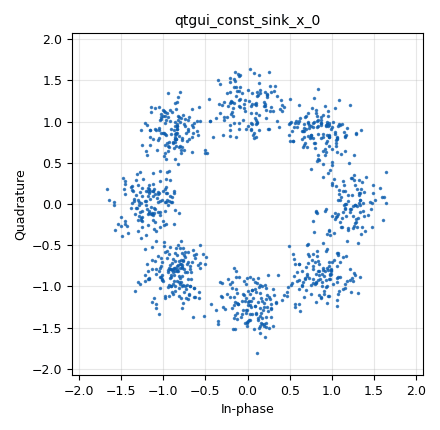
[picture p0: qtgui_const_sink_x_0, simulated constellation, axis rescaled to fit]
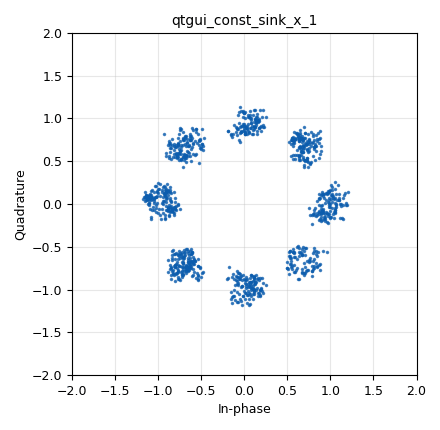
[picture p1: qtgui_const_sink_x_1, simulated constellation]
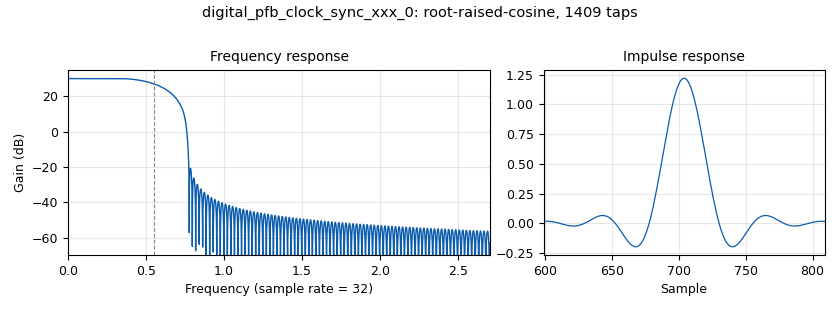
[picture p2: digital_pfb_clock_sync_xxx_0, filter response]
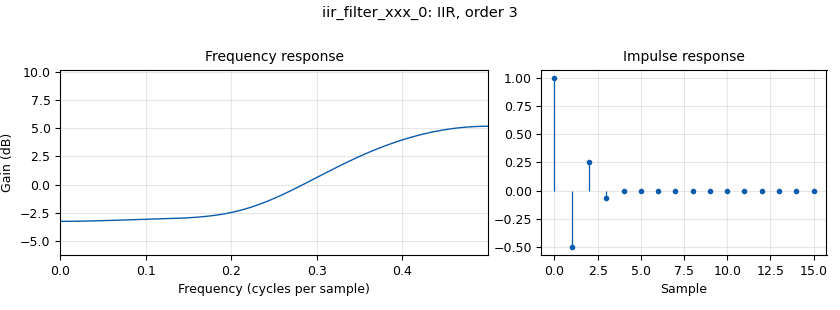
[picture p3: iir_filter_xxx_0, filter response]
<?xml version='1.0' encoding='utf-8'?>
<?grc format='1' created='3.7.11'?>
<flow_graph>
<block>
<key>options</key>
<param><key>id</key><value>top_block</value></param>
<param><key>generate_options</key><value>qt_gui</value></param>
</block>
<block>
<key>variable</key>
<param><key>id</key><value>const_points</value></param>
<param><key>value</key><value>4</value></param>
</block>
<block>
<key>variable</key>
<param><key>id</key><value>excess_bw</value></param>
<param><key>value</key><value>0.4</value></param>
</block>
<block>
<key>variable</key>
<param><key>id</key><value>nfilts</value></param>
<param><key>value</key><value>32</value></param>
</block>
<block>
<key>variable</key>
<param><key>id</key><value>ntaps</value></param>
<param><key>value</key><value>11*nfilts*sps</value></param>
</block>
<block>
<key>variable</key>
<param><key>id</key><value>samp_rate</value></param>
<param><key>value</key><value>20000*sps</value></param>
</block>
<block>
<key>variable</key>
<param><key>id</key><value>sps</value></param>
<param><key>value</key><value>4</value></param>
</block>
<block>
<key>variable</key>
<param><key>id</key><value>tx_taps</value></param>
<param><key>value</key><value>firdes.root_raised_cosine(nfilts,nfilts,1.1,excess_bw,ntaps)</value></param>
</block>
<block>
<key>variable_qtgui_range</key>
<param><key>id</key><value>var1</value></param>
<param><key>value</key><value>0</value></param>
<param><key>_enabled</key><value>0</value></param>
<param><key>orient</key><value>Qt.Horizontal</value></param>
<param><key>start</key><value>-1</value></param>
<param><key>step</key><value>0.01</value></param>
<param><key>stop</key><value>1</value></param>
</block>
<block>
<key>variable_qtgui_range</key>
<param><key>id</key><value>var2</value></param>
<param><key>value</key><value>0</value></param>
<param><key>_enabled</key><value>0</value></param>
<param><key>orient</key><value>Qt.Horizontal</value></param>
<param><key>start</key><value>-1</value></param>
<param><key>step</key><value>0.01</value></param>
<param><key>stop</key><value>1</value></param>
</block>
<block>
<key>variable_qtgui_range</key>
<param><key>id</key><value>var3</value></param>
<param><key>value</key><value>0</value></param>
<param><key>_enabled</key><value>0</value></param>
<param><key>orient</key><value>Qt.Horizontal</value></param>
<param><key>start</key><value>-1</value></param>
<param><key>step</key><value>0.01</value></param>
<param><key>stop</key><value>1</value></param>
</block>
<block>
<key>variable_qtgui_range</key>
<param><key>id</key><value>var4</value></param>
<param><key>value</key><value>0</value></param>
<param><key>_enabled</key><value>0</value></param>
<param><key>orient</key><value>Qt.Horizontal</value></param>
<param><key>start</key><value>-1</value></param>
<param><key>step</key><value>0.01</value></param>
<param><key>stop</key><value>1</value></param>
</block>
<block>
<key>analog_noise_source_x</key>
<param><key>id</key><value>analog_noise_source_x_0</value></param>
<param><key>amp</key><value>0.05</value></param>
<param><key>noise_type</key><value>analog.GR_GAUSSIAN</value></param>
<param><key>type</key><value>complex</value></param>
<param><key>seed</key><value>0</value></param>
</block>
<block>
<key>analog_random_source_x</key>
<param><key>id</key><value>analog_random_source_x_0</value></param>
<param><key>max</key><value>8</value></param>
<param><key>min</key><value>0</value></param>
<param><key>num_samps</key><value>1000</value></param>
<param><key>type</key><value>int</value></param>
<param><key>repeat</key><value>True</value></param>
</block>
<block>
<key>blocks_add_const_vxx</key>
<param><key>id</key><value>blocks_add_const_vxx_0</value></param>
<param><key>const</key><value>-1</value></param>
<param><key>_enabled</key><value>0</value></param>
<param><key>type</key><value>complex</value></param>
</block>
<block>
<key>blocks_add_xx</key>
<param><key>id</key><value>blocks_add_xx_0</value></param>
<param><key>type</key><value>complex</value></param>
</block>
<block>
<key>blocks_add_xx</key>
<param><key>id</key><value>blocks_add_xx_0_0</value></param>
<param><key>type</key><value>complex</value></param>
</block>
<block>
<key>blocks_delay</key>
<param><key>id</key><value>blocks_delay_0</value></param>
<param><key>delay</key><value>sps</value></param>
<param><key>type</key><value>complex</value></param>
</block>
<block>
<key>blocks_multiply_conjugate_cc</key>
<param><key>id</key><value>blocks_multiply_conjugate_cc_0</value></param>
<param><key>_enabled</key><value>0</value></param>
</block>
<block>
<key>blocks_multiply_const_vxx</key>
<param><key>id</key><value>blocks_multiply_const_vxx_0</value></param>
<param><key>const</key><value>0.5</value></param>
<param><key>type</key><value>complex</value></param>
</block>
<block>
<key>blocks_throttle</key>
<param><key>id</key><value>blocks_throttle_0</value></param>
<param><key>_enabled</key><value>0</value></param>
<param><key>samples_per_second</key><value>samp_rate*3</value></param>
<param><key>type</key><value>complex</value></param>
</block>
<block>
<key>import</key>
<param><key>id</key><value>digital</value></param>
<param><key>import</key><value>from gnuradio import digital</value></param>
</block>
<block>
<key>digital_chunks_to_symbols_xx</key>
<param><key>id</key><value>digital_chunks_to_symbols_xx_0</value></param>
<param><key>dimension</key><value>1</value></param>
<param><key>in_type</key><value>int</value></param>
<param><key>out_type</key><value>complex</value></param>
<param><key>symbol_table</key><value>((1), (-1), (1j), (-1j), (0.707-0.707j),(0.707+0.707j),(-0.707+0.707j),(-0.707-0.707j))</value></param>
</block>
<block>
<key>digital_cma_equalizer_cc</key>
<param><key>id</key><value>digital_cma_equalizer_cc_0</value></param>
<param><key>mu</key><value>0.001</value></param>
<param><key>modulus</key><value>1</value></param>
<param><key>num_taps</key><value>8</value></param>
<param><key>sps</key><value>sps</value></param>
</block>
<block>
<key>digital_pfb_clock_sync_xxx</key>
<param><key>id</key><value>digital_pfb_clock_sync_xxx_0</value></param>
<param><key>filter_size</key><value>nfilts</value></param>
<param><key>init_phase</key><value>16</value></param>
<param><key>loop_bw</key><value>2*pi/100</value></param>
<param><key>max_dev</key><value>1.5</value></param>
<param><key>osps</key><value>1</value></param>
<param><key>sps</key><value>sps</value></param>
<param><key>taps</key><value>tx_taps</value></param>
<param><key>type</key><value>ccf</value></param>
</block>
<block>
<key>import</key>
<param><key>id</key><value>filt</value></param>
<param><key>import</key><value>from gnuradio import filter</value></param>
</block>
<block>
<key>iir_filter_xxx</key>
<param><key>id</key><value>iir_filter_xxx_0</value></param>
<param><key>fftaps</key><value>[1,-0.5,0.25,-0.0625]</value></param>
<param><key>fbtaps</key><value>1</value></param>
<param><key>type</key><value>ccz</value></param>
</block>
<block>
<key>iir_filter_xxx</key>
<param><key>id</key><value>iir_filter_xxx_1</value></param>
<param><key>_enabled</key><value>0</value></param>
<param><key>fftaps</key><value>0.001</value></param>
<param><key>fbtaps</key><value>[1,0.98]</value></param>
<param><key>type</key><value>ccz</value></param>
</block>
<block>
<key>pfb_arb_resampler_xxx</key>
<param><key>id</key><value>pfb_arb_resampler_xxx_0</value></param>
<param><key>nfilts</key><value>32</value></param>
<param><key>rrate</key><value>sps</value></param>
<param><key>atten</key><value>100</value></param>
<param><key>taps</key><value>tx_taps</value></param>
<param><key>type</key><value>ccf</value></param>
</block>
<block>
<key>import</key>
<param><key>id</key><value>pi</value></param>
<param><key>import</key><value>from math import pi</value></param>
</block>
<block>
<key>qtgui_const_sink_x</key>
<param><key>id</key><value>qtgui_const_sink_x_0</value></param>
<param><key>size</key><value>1024</value></param>
<param><key>type</key><value>complex</value></param>
<param><key>ymax</key><value>8/7</value></param>
<param><key>ymin</key><value>-8/7</value></param>
</block>
<block>
<key>qtgui_const_sink_x</key>
<param><key>id</key><value>qtgui_const_sink_x_1</value></param>
<param><key>size</key><value>1024</value></param>
<param><key>type</key><value>complex</value></param>
</block>
<block>
<key>qtgui_sink_x</key>
<param><key>id</key><value>qtgui_sink_x_0</value></param>
<param><key>bw</key><value>samp_rate</value></param>
<param><key>fc</key><value>0</value></param>
<param><key>freqchangevar</key><value>None</value></param>
<param><key>_enabled</key><value>0</value></param>
<param><key>fftsize</key><value>1024</value></param>
<param><key>showports</key><value>True</value></param>
<param><key>type</key><value>complex</value></param>
<param><key>wintype</key><value>firdes.WIN_BLACKMAN_hARRIS</value></param>
</block>
<connection><source_block_id>analog_noise_source_x_0</source_block_id><sink_block_id>blocks_add_xx_0_0</sink_block_id><source_key>0</source_key><sink_key>0</sink_key></connection>
<connection><source_block_id>analog_random_source_x_0</source_block_id><sink_block_id>digital_chunks_to_symbols_xx_0</sink_block_id><source_key>0</source_key><sink_key>0</sink_key></connection>
<connection><source_block_id>blocks_add_const_vxx_0</source_block_id><sink_block_id>iir_filter_xxx_1</sink_block_id><source_key>0</source_key><sink_key>0</sink_key></connection>
<connection><source_block_id>blocks_add_xx_0</source_block_id><sink_block_id>digital_pfb_clock_sync_xxx_0</sink_block_id><source_key>0</source_key><sink_key>0</sink_key></connection>
<connection><source_block_id>blocks_add_xx_0_0</source_block_id><sink_block_id>blocks_add_xx_0</sink_block_id><source_key>0</source_key><sink_key>1</sink_key></connection>
<connection><source_block_id>blocks_add_xx_0_0</source_block_id><sink_block_id>blocks_delay_0</sink_block_id><source_key>0</source_key><sink_key>0</sink_key></connection>
<connection><source_block_id>blocks_delay_0</source_block_id><sink_block_id>blocks_multiply_const_vxx_0</sink_block_id><source_key>0</source_key><sink_key>0</sink_key></connection>
<connection><source_block_id>blocks_multiply_conjugate_cc_0</source_block_id><sink_block_id>blocks_add_const_vxx_0</sink_block_id><source_key>0</source_key><sink_key>0</sink_key></connection>
<connection><source_block_id>blocks_multiply_const_vxx_0</source_block_id><sink_block_id>blocks_add_xx_0</sink_block_id><source_key>0</source_key><sink_key>0</sink_key></connection>
<connection><source_block_id>blocks_throttle_0</source_block_id><sink_block_id>qtgui_sink_x_0</sink_block_id><source_key>0</source_key><sink_key>0</sink_key></connection>
<connection><source_block_id>digital_chunks_to_symbols_xx_0</source_block_id><sink_block_id>pfb_arb_resampler_xxx_0</sink_block_id><source_key>0</source_key><sink_key>0</sink_key></connection>
<connection><source_block_id>digital_cma_equalizer_cc_0</source_block_id><sink_block_id>qtgui_const_sink_x_1</sink_block_id><source_key>0</source_key><sink_key>0</sink_key></connection>
<connection><source_block_id>digital_pfb_clock_sync_xxx_0</source_block_id><sink_block_id>digital_cma_equalizer_cc_0</sink_block_id><source_key>0</source_key><sink_key>0</sink_key></connection>
<connection><source_block_id>digital_pfb_clock_sync_xxx_0</source_block_id><sink_block_id>iir_filter_xxx_0</sink_block_id><source_key>0</source_key><sink_key>0</sink_key></connection>
<connection><source_block_id>iir_filter_xxx_0</source_block_id><sink_block_id>blocks_multiply_conjugate_cc_0</sink_block_id><source_key>0</source_key><sink_key>0</sink_key></connection>
<connection><source_block_id>iir_filter_xxx_0</source_block_id><sink_block_id>blocks_multiply_conjugate_cc_0</sink_block_id><source_key>0</source_key><sink_key>1</sink_key></connection>
<connection><source_block_id>iir_filter_xxx_0</source_block_id><sink_block_id>qtgui_const_sink_x_0</sink_block_id><source_key>0</source_key><sink_key>0</sink_key></connection>
<connection><source_block_id>iir_filter_xxx_1</source_block_id><sink_block_id>blocks_throttle_0</sink_block_id><source_key>0</source_key><sink_key>0</sink_key></connection>
<connection><source_block_id>pfb_arb_resampler_xxx_0</source_block_id><sink_block_id>blocks_add_xx_0_0</sink_block_id><source_key>0</source_key><sink_key>1</sink_key></connection>
</flow_graph>
